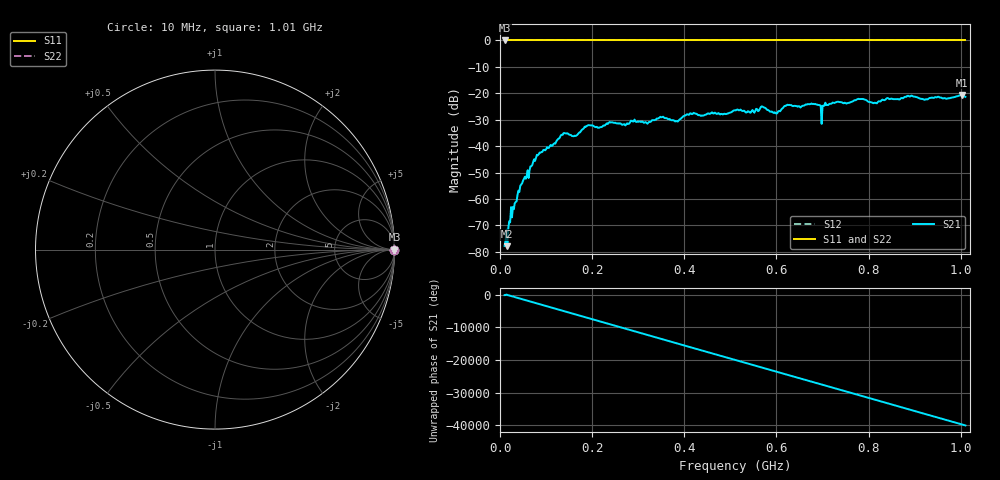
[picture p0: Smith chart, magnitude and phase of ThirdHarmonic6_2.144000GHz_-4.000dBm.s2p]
! 8/17/2025 1:36:18 AM
! C:\ANRITSUVNA\TEMP\TEMP.S2P
! CHANNEL.1
! TR.MEASUREMENT
! RAW.DATA
! RF.CORRECTION.OFF
! AVERAGING.OFF
! IF.BANDWIDTH: 5KHZ
! SWEEPTYPE:  FREQ.SWEEP(Linear)
! Reference Plane Port Info
! PORT:  PORT1  PORT2
! DISTANCE:  0  m  0  m
! TIME:  0  s  0  s
! PHASE.OFFSET:  0  deg.  0  deg.
! LOSS:  0  dB  0  dB
! REF.LOSS:  0  dB  0  dB
! REF.FREQ:  0  Hz  0  Hz
! Power Info
! POWER:  -20  dBm  -20  dBm
! EFF.POWER:  -20  dBm  -20  dBm
! SOURCE.ATTEN:  0  dB  0  dB
! TEST.ATTEN:  0  dB  0  dB
# GHZ S RI R 50.0
! FREQ.GHZ  S11RE  S11IM  S21RE  S21IM  S12RE  S12IM  S22RE  S22IM
!; PortSelection: Port_12
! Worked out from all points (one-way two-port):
!   501 points, 10 MHz to 1.01 GHz, reference 50 ohm
!   highest |S21| = -20.68 dB at 1.002 GHz (marker M1); lowest = -77.9 dB at 16 MHz (marker M2)
!   lowest |S11| = 0.0 dB at 10 MHz (marker M3)
!   |S11| at or under -10 dB: nowhere
!   |S22| runs from 0.0 to 0.0 dB; largest |S21 - S12| = 1.1
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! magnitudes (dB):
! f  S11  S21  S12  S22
! 10 MHz  0.0  -77.8  0.0  0.0
! 16 MHz  0.0  -77.9  0.0  0.0
! 24 MHz  0.0  -63.1  0.0  0.0
! 42 MHz  0.0  -57.4  0.0  0.0
! 82 MHz  0.0  -43.5  0.0  0.0
! 136 MHz  0.0  -35.7  0.0  0.0
! 162 MHz  0.0  -36.0  0.0  0.0
! 178 MHz  0.0  -33.8  0.0  0.0
! 192 MHz  0.0  -32.1  0.0  0.0
! 344 MHz  0.0  -29.4  0.0  0.0
! 384 MHz  0.0  -30.6  0.0  0.0
! 416 MHz  0.0  -27.9  0.0  0.0
! 510 MHz  0.0  -26.4  0.0  0.0
! 570 MHz  0.0  -25.1  0.0  0.0
! 598 MHz  0.0  -27.4  0.0  0.0
! 622 MHz  0.0  -24.5  0.0  0.0
! 678 MHz  0.0  -24.1  0.0  0.0
! 700 MHz  0.0  -24.7  0.0  0.0
! 732 MHz  0.0  -23.2  0.0  0.0
! 844 MHz  0.0  -22.1  0.0  0.0
! 1.002 GHz  0.0  -20.7  0.0  0.0
! 1.01 GHz  0.0  -21.3  0.0  0.0
